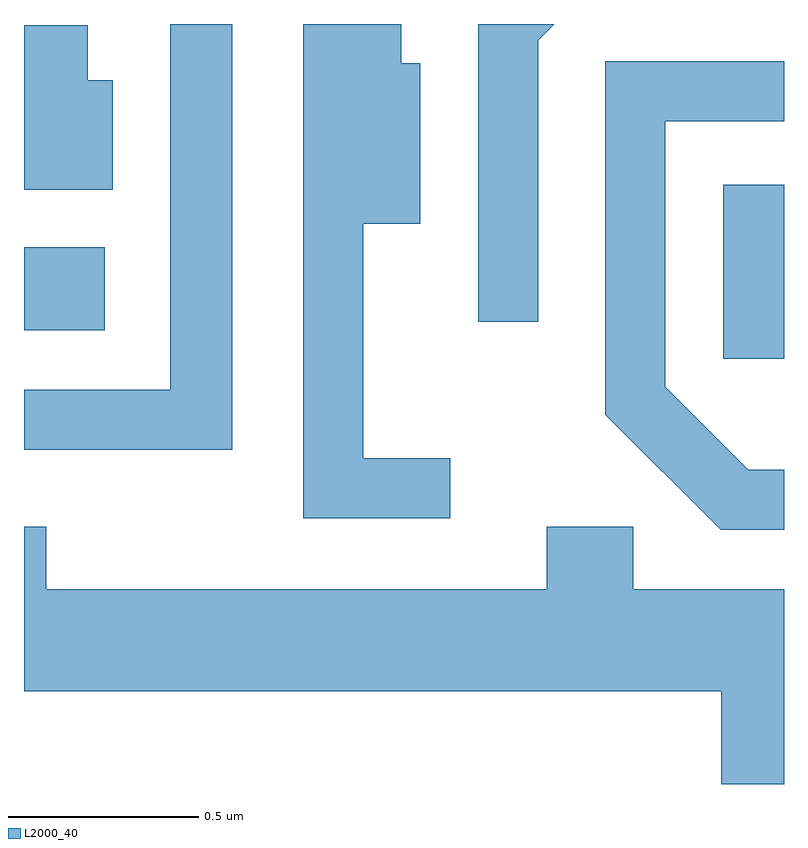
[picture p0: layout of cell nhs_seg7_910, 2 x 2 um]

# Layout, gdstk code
import gdstk
lib = gdstk.Library(unit=1e-6, precision=1e-09)
def R(c, l, rs):  # rectangles x0, y0, x1, y1
    for r in rs: c.add(gdstk.rectangle(r[:2], r[2:], *l))
def P(c, l, *ps):  # polygons
    for p in ps: c.add(gdstk.Polygon(p, *l))
L2000_40 = (2000, 40)

nhs_seg7_910 = lib.new_cell('nhs_seg7_910')
R(nhs_seg7_910, L2000_40, [(193.451,1757.371,193.611,1757.829), (191.611,1757.446,191.824,1757.664)])
P(nhs_seg7_910, L2000_40, [(192.964,1758.209),(193.007,1758.252),(192.806,1758.252),(192.806,1757.468),(192.964,1757.468)],
  [(192.159,1758.252),(191.996,1758.252),(191.996,1757.289),(191.611,1757.289),(191.611,1757.131),(192.159,1757.131)],
  [(192.733,1757.109),(192.504,1757.109),(192.504,1757.726),(192.654,1757.726),(192.654,1758.149),(192.604,1758.149),(192.604,1758.252),(192.346,1758.252),(192.346,1756.951),(192.733,1756.951)],
  [(191.844,1758.104),(191.779,1758.104),(191.779,1758.249),(191.611,1758.249),(191.611,1757.816),(191.844,1757.816)],
  [(193.611,1757.079),(193.517,1757.079),(193.299,1757.297),(193.299,1757.996),(193.611,1757.996),(193.611,1758.154),(193.141,1758.154),(193.141,1757.224),(193.444,1756.921),(193.611,1756.921)],
  [(193.611,1756.764),(193.214,1756.764),(193.214,1756.929),(192.986,1756.929),(192.986,1756.764),(191.669,1756.764),(191.669,1756.929),(191.611,1756.929),(191.611,1756.496),(193.446,1756.496),(193.446,1756.252),(193.611,1756.252)])

lib.write_gds('nhs_seg7_910.gds')
